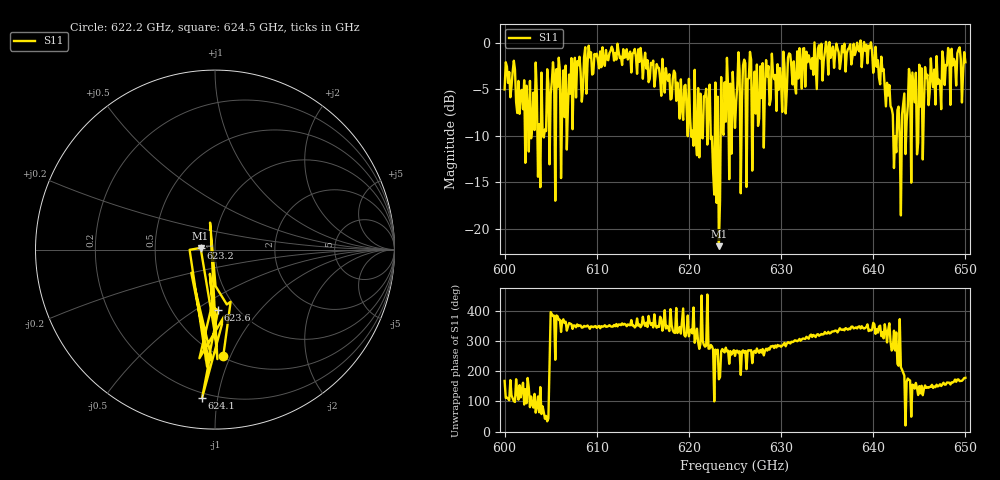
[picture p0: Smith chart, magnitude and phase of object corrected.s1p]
!Created with skrf (http://scikit-rf.org).
# GHz S MA R 50.0
!freq magS11 angS11
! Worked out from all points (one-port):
!   401 points, 600 GHz to 650 GHz, reference 50 ohm
!   lowest |S11| = -21.9 dB at 623.2 GHz (marker M1), VSWR 1.18, Z = 42.6 + j0.815 ohm
!   |S11| at or under -10 dB: 620.743 GHz to 620.9114 GHz (168.3 MHz wide, 0.0271 % of centre); 622.3673 GHz to 622.8157 GHz (448.4 MHz wide, 0.072 % of centre); 642.1744 GHz to 642.5491 GHz (374.7 MHz wide, 0.0583 % of centre) (the widest 3 of 32)
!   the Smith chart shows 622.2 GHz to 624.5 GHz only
!   S11 on the Smith chart (normalised r, x): 622.2 GHz: 0.51, -0.94; 623.2 GHz: 0.85, +0.02; 623.6 GHz: 0.82, -0.63; 624.1 GHz: 0.17, -0.90; 624.5 GHz: 0.44, -0.83
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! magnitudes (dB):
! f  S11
! 600 GHz  -5.0
! 601 GHz  -2.0
! 602.8 GHz  -4.1
! 603.2 GHz  -9.4
! 603.9 GHz  -15.5
! 604.9 GHz  -13.1
! 606.2 GHz  -6.4
! 607.9 GHz  -2.0
! 612.5 GHz  -1.7
! 618.8 GHz  -4.3
! 620.6 GHz  -2.9
! 622 GHz  -11.0
! 622.2 GHz  -4.5
! 623.2 GHz  -21.9
! 623.5 GHz  -3.7
! 623.6 GHz  -9.4
! 624.1 GHz  -1.6
! 624.5 GHz  -4.4
! 625 GHz  -9.2
! 627.1 GHz  -3.1
! 631.2 GHz  -4.5
! 637.5 GHz  -0.2
! 640 GHz  -3.2
! 641.8 GHz  -4.6
! 642.2 GHz  -13.5
! 642.8 GHz  -6.9
! 643.8 GHz  -6.8
! 650 GHz  -2.1
